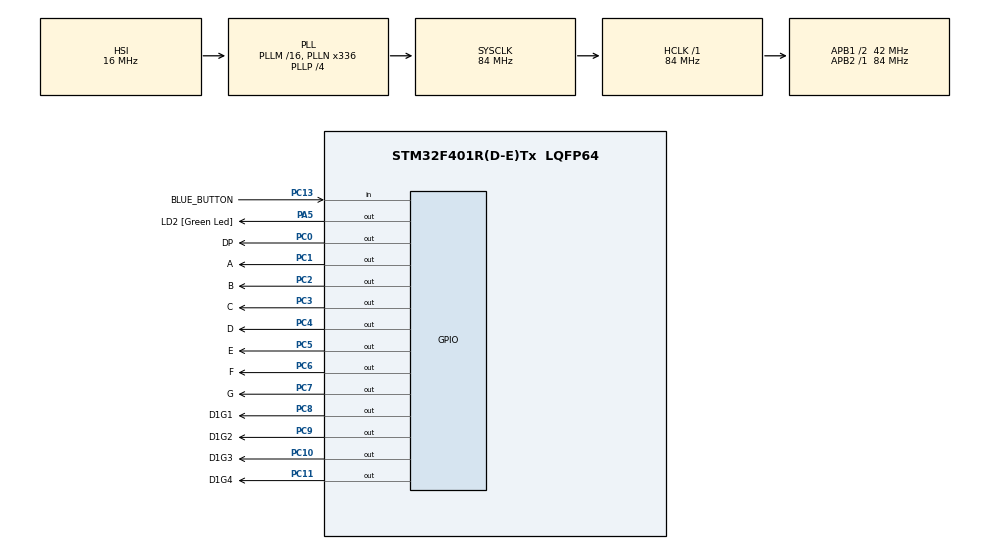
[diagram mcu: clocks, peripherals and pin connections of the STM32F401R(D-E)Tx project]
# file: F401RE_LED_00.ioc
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Mcu.Family=STM32F4
Mcu.Name=STM32F401R(D-E)Tx
Mcu.Package=LQFP64
NVIC.PriorityGroup=NVIC_PRIORITYGROUP_0
PA13.GPIO_Label=TMS
PA13.Signal=SYS_JTMS-SWDIO
PA14.GPIO_Label=TCK
PA14.Signal=SYS_JTCK-SWCLK
PA2.GPIO_Label=USART_TX
PA2.GPIO_Mode=GPIO_MODE_AF_PP
PA2.GPIO_PuPd=GPIO_NOPULL
PA2.GPIO_Speed=GPIO_SPEED_FREQ_LOW
PA2.Signal=USART2_TX
PA3.GPIO_Label=USART_RX
PA3.GPIO_Mode=GPIO_MODE_AF_PP
PA3.GPIO_PuPd=GPIO_NOPULL
PA3.GPIO_Speed=GPIO_SPEED_FREQ_LOW
PA3.Signal=USART2_RX
PA5.GPIO_Label=LD2 [Green Led]
PA5.GPIO_Mode=GPIO_MODE_OUTPUT_PP
PA5.GPIO_PuPd=GPIO_NOPULL
PA5.GPIO_Speed=GPIO_SPEED_FREQ_LOW
PA5.Signal=GPIO_Output
PB3.GPIO_Label=SWO
PB3.Signal=SYS_JTDO-SWO
PC0.GPIO_Label=DP
PC0.Signal=GPIO_Output
PC1.GPIO_Label=A
PC1.Signal=GPIO_Output
PC10.GPIO_Label=D1G3
PC10.Signal=GPIO_Output
PC11.GPIO_Label=D1G4
PC11.Signal=GPIO_Output
PC13-ANTI_TAMP.GPIO_Label=BLUE_BUTTON
PC13-ANTI_TAMP.Signal=GPIO_Input
PC14-OSC32_IN.Signal=RCC_OSC32_IN
PC15-OSC32_OUT.Signal=RCC_OSC32_OUT
PC2.GPIO_Label=B
PC2.Signal=GPIO_Output
PC3.GPIO_Label=C
PC3.Signal=GPIO_Output
PC4.GPIO_Label=D
PC4.Signal=GPIO_Output
PC5.GPIO_Label=E
PC5.Signal=GPIO_Output
PC6.GPIO_Label=F
PC6.Signal=GPIO_Output
PC7.GPIO_Label=G
PC7.Signal=GPIO_Output
PC8.GPIO_Label=D1G1
PC8.Signal=GPIO_Output
PC9.GPIO_Label=D1G2
PC9.Signal=GPIO_Output
PH0\ -\ OSC_IN.Signal=RCC_OSC_IN
PH1\ -\ OSC_OUT.Signal=RCC_OSC_OUT
ProjectManager.HeapSize=0x200
ProjectManager.StackSize=0x400
ProjectManager.TargetToolchain=MDK-ARM V5
RCC.AHBFreq_Value=84000000
RCC.APB1CLKDivider=RCC_HCLK_DIV2
RCC.APB1Freq_Value=42000000
RCC.APB1TimFreq_Value=84000000
RCC.APB2Freq_Value=84000000
RCC.APB2TimFreq_Value=84000000
RCC.CortexFreq_Value=84000000
RCC.HCLKFreq_Value=84000000
RCC.HSE_VALUE=8000000
RCC.HSI_VALUE=16000000
RCC.LSE_VALUE=32768
RCC.PLLN=336
RCC.PLLP=RCC_PLLP_DIV4
RCC.PLLQ=7
RCC.SYSCLKFreq_VALUE=84000000
RCC.SYSCLKSource=RCC_SYSCLKSOURCE_PLLCLK
RCC.VCOOutputFreq_Value=336000000
board=NUCLEO-F401RE

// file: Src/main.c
/**
  ******************************************************************************
  * File Name          : main.c
  * Description        : Main program body
  ******************************************************************************
  *
  * COPYRIGHT(c) 2016 STMicroelectronics
  *
  * Redistribution and use in source and binary forms, with or without modification,
  * are permitted provided that the following conditions are met:
  *   1. Redistributions of source code must retain the above copyright notice,
  *      this list of conditions and the following disclaimer.
  *   2. Redistributions in binary form must reproduce the above copyright notice,
  *      this list of conditions and the following disclaimer in the documentation
  *      and/or other materials provided with the distribution.
  *   3. Neither the name of STMicroelectronics nor the names of its contributors
  *      may be used to endorse or promote products derived from this software
  *      without specific prior written permission.
  *
  * THIS SOFTWARE IS PROVIDED BY THE COPYRIGHT HOLDERS AND CONTRIBUTORS "AS IS"
  * AND ANY EXPRESS OR IMPLIED WARRANTIES, INCLUDING, BUT NOT LIMITED TO, THE
  * IMPLIED WARRANTIES OF MERCHANTABILITY AND FITNESS FOR A PARTICULAR PURPOSE ARE
  * DISCLAIMED. IN NO EVENT SHALL THE COPYRIGHT HOLDER OR CONTRIBUTORS BE LIABLE
  * FOR ANY DIRECT, INDIRECT, INCIDENTAL, SPECIAL, EXEMPLARY, OR CONSEQUENTIAL
  * DAMAGES (INCLUDING, BUT NOT LIMITED TO, PROCUREMENT OF SUBSTITUTE GOODS OR
  * SERVICES; LOSS OF USE, DATA, OR PROFITS; OR BUSINESS INTERRUPTION) HOWEVER
  * CAUSED AND ON ANY THEORY OF LIABILITY, WHETHER IN CONTRACT, STRICT LIABILITY,
  * OR TORT (INCLUDING NEGLIGENCE OR OTHERWISE) ARISING IN ANY WAY OUT OF THE USE
  * OF THIS SOFTWARE, EVEN IF ADVISED OF THE POSSIBILITY OF SUCH DAMAGE.
  *
  ******************************************************************************
  */
#include "stm32f4xx_hal.h"

/* USER CODE BEGIN PV */
/* Private variables ---------------------------------------------------------*/
/*
	7SEGMENT LED Pin Assgin
	7-0(G-A, DP) -> PortC07-PortC00
	SEL3 -> PC11
	SEL2 -> PC10
	SEL1 -> PC09
	SEL0 -> PC08
	*/
#define LED_PORT 		GPIOA
#define LED_PIN			GPIO_PIN_5
#define LED_ON			GPIO_PIN_SET
#define LED_OFF		GPIO_PIN_RESET
#define SW_PORT 		GPIOC
#define SW_PIN			GPIO_PIN_13
#define SW_OFF			GPIO_PIN_SET
#define SW_ON			GPIO_PIN_RESET
/* USER CODE END PV */

void SystemClock_Config(void);
void Error_Handler(void);
static void MX_GPIO_Init(void);

/* USER CODE BEGIN PFP */
/* Private function prototypes -----------------------------------------------*/

/* USER CODE END PFP */

/* USER CODE BEGIN 0 */
//表示する桁を選択
//それ以外の場合は表示を消す
void SelectSel(int sel)
{
	int mask;

	if((sel<0)||(sel>3))
	{
		HAL_GPIO_WritePin(GPIOC, 0xf00, GPIO_PIN_RESET);
		return;
	}
	sel=3-sel;

	mask=(1<<(sel+8));
	HAL_GPIO_WritePin(GPIOC, mask, GPIO_PIN_SET);
	mask=(~mask)&0xf00;
	HAL_GPIO_WritePin(GPIOC, mask, GPIO_PIN_RESET);
}

//7segment データの表示
void ShowSeg(int val)
{
	char pat[16] = {0xfc, 0x60, 0xda, 0xf2,0x66, 0xb6, 0xbe, 0xe4,			//0-7
						0xfe, 0xe6, 0xee, 0x3e, 0x1a, 0x7a, 0x9e, 0x8e };	//8-F

	int mask;
	mask=pat[val];
	HAL_GPIO_WritePin(GPIOC, mask, GPIO_PIN_SET);
	mask=(~mask)&0xff;
	HAL_GPIO_WritePin(GPIOC, mask, GPIO_PIN_RESET);
}

void ShowData(int dat)
{
	int i;
	int val;

	for(i=0; i<4; i++){
		val=(dat & 0x0f);
		ShowSeg(val);
		SelectSel(i);
		HAL_Delay(1);
		SelectSel(-1);
		dat>>=4;
	}
}

/* USER CODE END 0 */

int main(void)
{

  /* USER CODE BEGIN 1 */
	int i;
  /* USER CODE END 1 */

  /* MCU Configuration----------------------------------------------------------*/

  /* Reset of all peripherals, Initializes the Flash interface and the Systick. */
	HAL_Init();
  /* Configure the system clock */
  SystemClock_Config();

  /* Initialize all configured peripherals */
  MX_GPIO_Init();

  /* Infinite loop */
  /* USER CODE BEGIN WHILE */
  while (1)
  {
	  ShowData(0x4444);
  }

  /* USER CODE END WHILE */

}

/** System Clock Configuration
*/
void SystemClock_Config(void)
{

  RCC_OscInitTypeDef RCC_OscInitStruct;
  RCC_ClkInitTypeDef RCC_ClkInitStruct;

  __HAL_RCC_PWR_CLK_ENABLE();

  __HAL_PWR_VOLTAGESCALING_CONFIG(PWR_REGULATOR_VOLTAGE_SCALE2);

  RCC_OscInitStruct.OscillatorType = RCC_OSCILLATORTYPE_HSI;
  RCC_OscInitStruct.HSIState = RCC_HSI_ON;
  RCC_OscInitStruct.HSICalibrationValue = 16;
  RCC_OscInitStruct.PLL.PLLState = RCC_PLL_ON;
  RCC_OscInitStruct.PLL.PLLSource = RCC_PLLSOURCE_HSI;
  RCC_OscInitStruct.PLL.PLLM = 16;
  RCC_OscInitStruct.PLL.PLLN = 336;
  RCC_OscInitStruct.PLL.PLLP = RCC_PLLP_DIV4;
  RCC_OscInitStruct.PLL.PLLQ = 7;
  if (HAL_RCC_OscConfig(&RCC_OscInitStruct) != HAL_OK)
  {
    Error_Handler();
  }

  RCC_ClkInitStruct.ClockType = RCC_CLOCKTYPE_HCLK|RCC_CLOCKTYPE_SYSCLK
                              |RCC_CLOCKTYPE_PCLK1|RCC_CLOCKTYPE_PCLK2;
  RCC_ClkInitStruct.SYSCLKSource = RCC_SYSCLKSOURCE_PLLCLK;
  RCC_ClkInitStruct.AHBCLKDivider = RCC_SYSCLK_DIV1;
  RCC_ClkInitStruct.APB1CLKDivider = RCC_HCLK_DIV2;
  RCC_ClkInitStruct.APB2CLKDivider = RCC_HCLK_DIV1;
  if (HAL_RCC_ClockConfig(&RCC_ClkInitStruct, FLASH_LATENCY_2) != HAL_OK)
  {
    Error_Handler();
  }

  HAL_SYSTICK_Config(HAL_RCC_GetHCLKFreq()/1000);

  HAL_SYSTICK_CLKSourceConfig(SYSTICK_CLKSOURCE_HCLK);

  /* SysTick_IRQn interrupt configuration */
  HAL_NVIC_SetPriority(SysTick_IRQn, 0, 0);
}

/** Configure pins as
        * Analog
        * Input
        * Output
        * EVENT_OUT
        * EXTI
     PA2   ------> USART2_TX
     PA3   ------> USART2_RX
*/
static void MX_GPIO_Init(void)
{

  GPIO_InitTypeDef GPIO_InitStruct;

  /* GPIO Ports Clock Enable */
  __HAL_RCC_GPIOC_CLK_ENABLE();
  __HAL_RCC_GPIOH_CLK_ENABLE();
  __HAL_RCC_GPIOA_CLK_ENABLE();
  __HAL_RCC_GPIOB_CLK_ENABLE();

  /*Configure GPIO pin : BLUE_BUTTON_Pin */
  GPIO_InitStruct.Pin = BLUE_BUTTON_Pin;
  GPIO_InitStruct.Mode = GPIO_MODE_INPUT;
  GPIO_InitStruct.Pull = GPIO_NOPULL;
  HAL_GPIO_Init(BLUE_BUTTON_GPIO_Port, &GPIO_InitStruct);

  /*Configure GPIO pins : DP_Pin A_Pin B_Pin C_Pin
                           D_Pin E_Pin F_Pin G_Pin
                           D1G2_Pin D1G2C9_Pin D1G3_Pin D1G4_Pin */
  GPIO_InitStruct.Pin = DP_Pin|A_Pin|B_Pin|C_Pin
                          |D_Pin|E_Pin|F_Pin|G_Pin
                          |D1G2_Pin|D1G2C9_Pin|D1G3_Pin|D1G4_Pin;
  GPIO_InitStruct.Mode = GPIO_MODE_OUTPUT_PP;
  GPIO_InitStruct.Pull = GPIO_NOPULL;
  GPIO_InitStruct.Speed = GPIO_SPEED_FREQ_LOW;
  HAL_GPIO_Init(GPIOC, &GPIO_InitStruct);

  /*Configure GPIO pins : USART_TX_Pin USART_RX_Pin */
  GPIO_InitStruct.Pin = USART_TX_Pin|USART_RX_Pin;
  GPIO_InitStruct.Mode = GPIO_MODE_AF_PP;
  GPIO_InitStruct.Pull = GPIO_NOPULL;
  GPIO_InitStruct.Speed = GPIO_SPEED_FREQ_LOW;
  GPIO_InitStruct.Alternate = GPIO_AF7_USART2;
  HAL_GPIO_Init(GPIOA, &GPIO_InitStruct);

  /*Configure GPIO pin : LD2_Pin */
  GPIO_InitStruct.Pin = LD2_Pin;
  GPIO_InitStruct.Mode = GPIO_MODE_OUTPUT_PP;
  GPIO_InitStruct.Pull = GPIO_NOPULL;
  GPIO_InitStruct.Speed = GPIO_SPEED_FREQ_LOW;
  HAL_GPIO_Init(LD2_GPIO_Port, &GPIO_InitStruct);

  /*Configure GPIO pin Output Level */
  HAL_GPIO_WritePin(GPIOC, DP_Pin|A_Pin|B_Pin|C_Pin
                          |D_Pin|E_Pin|F_Pin|G_Pin
                          |D1G2_Pin|D1G2C9_Pin|D1G3_Pin|D1G4_Pin, GPIO_PIN_RESET);

  /*Configure GPIO pin Output Level */
  HAL_GPIO_WritePin(LD2_GPIO_Port, LD2_Pin, GPIO_PIN_RESET);

}

void Error_Handler(void)
{
  while(1)
  {
  }
}

/************************ (C) COPYRIGHT STMicroelectronics *****END OF FILE****/
